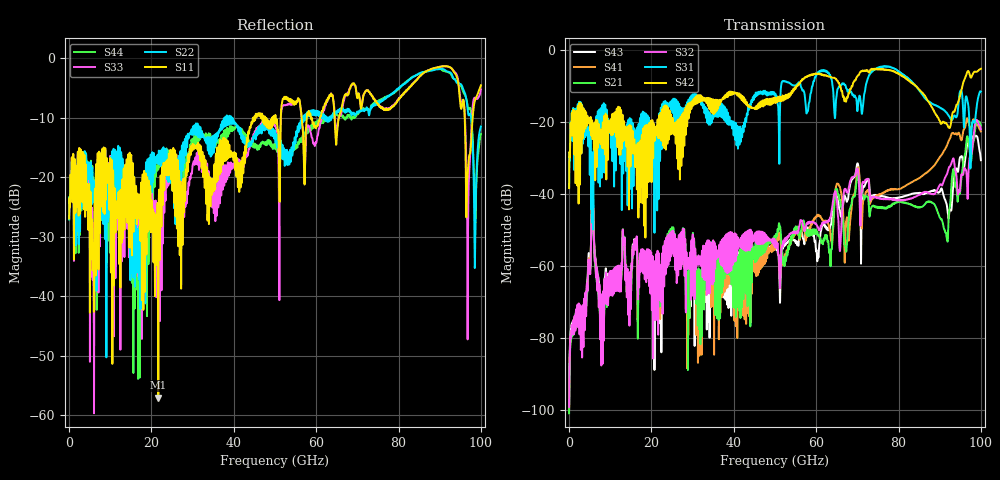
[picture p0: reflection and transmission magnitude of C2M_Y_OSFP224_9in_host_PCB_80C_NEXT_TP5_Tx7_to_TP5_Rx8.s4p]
# GHz S RI R 45
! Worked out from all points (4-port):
!   4000 points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, 25 MHz to 100 GHz, reference 45 ohm
!   strongest paths, dB at 25 MHz, 25.02 GHz, 50.02 GHz, 75.03 GHz, 100 GHz:
!     S42: -38.4, -21.6, -13.5, -5.4, -5.3
!     S31: -38.1, -14.4, -12.4, -5.0, -11.6
!     S32: -99.0, -50.9, -54.3, -41.2, -22.1
!     S21: -100.8, -49.3, -52.8, -43.7, -21.1
!     S41: -99.9, -52.0, -53.5, -40.4, -22.7
!     S43: -98.2, -54.4, -55.2, -40.4, -30.7
!   lowest |S11| = -57.0 dB at 21.68 GHz (marker M1), VSWR 1.00, Z = 45.1 - j0.026 ohm
!   |S11| at or under -10 dB: start of sweep to 44.65 GHz; 58.95 GHz to 60.92 GHz (1.968 GHz wide, 3.28 % of centre); 96.08 GHz to 98 GHz (1.928 GHz wide, 1.99 % of centre)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
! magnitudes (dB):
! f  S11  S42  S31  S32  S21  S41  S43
! 25 MHz  -26.9  -38.4  -38.1  -99.0  -100.8  -99.9  -98.2
! 5.75 GHz  -35.5  -24.5  -31.7  -40.3  -40.2  -40.2  -40.2
! 8 GHz  -17.0  -27.2  -18.0  -68.9  -83.3  -76.2  -71.1
! 21.68 GHz  -57.0  -24.6  -23.3  -67.4  -61.9  -61.8  -64.6
! 91.58 GHz  -1.4  -20.4  -17.4  -34.9  -51.1  -27.0  -42.5
! 96.9 GHz  -18.6  -5.9  -15.1  -37.0  -24.8  -19.7  -24.9
! 100 GHz  -4.6  -5.3  -11.6  -22.1  -21.1  -22.7  -30.7
